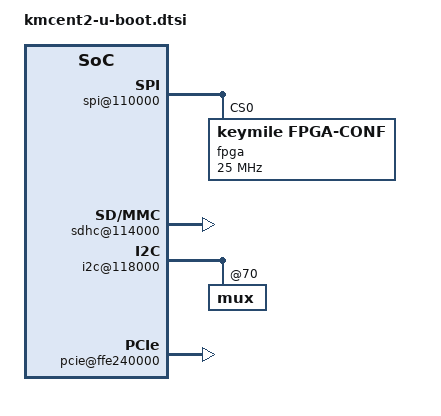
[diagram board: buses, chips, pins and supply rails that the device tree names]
// SPDX-License-Identifier: GPL-2.0-or-later
/*
 * (C) Copyright 2021  Niel Fourie <lusus@denx.de>
 */

#include <config.h>

/ {

	aliases {
		spi0 = "/soc@ffe000000/spi@110000";
		i2c0 = "/soc@ffe000000/i2c@118000";
		i2c1 = "/soc@ffe000000/i2c@118000/mux@70/i2c@0";
		i2c2 = "/soc@ffe000000/i2c@118000/mux@70/i2c@1";
		i2c3 = "/soc@ffe000000/i2c@118000/mux@70/i2c@7";
		i2c4 = "/soc@ffe000000/i2c@118100";
		/delete-property/ pci1;
		/delete-property/ pci2;
		/delete-property/ pci3;
	};

	chosen {
		stdout-path = "/soc@ffe000000/serial@11c500";
	};

	soc@ffe000000 {
		bootph-all;
		spi@110000 {
			/* This documents where km_fpgacfg should be appear */
			fpga@0 {
				compatible = "keymile,fpga-conf";
				reg = <0>;
				spi-max-frequency = <25000000>;
			};
		};

		sdhc@114000 {
			status = "okay";
		};

		i2c@118000 {
			bootph-all;
			mux@70 {
				i2c@1 { /* IVM bus */
					reg = <1>;
					#address-cells = <1>;
					#size-cells = <0>;
				};
			};
		};

		serial@11c500 {
			bootph-all;
			clock-frequency = <200000000>;
		};

		fman@400000 {
			ethernet@e0000 {
				phy-connection-type = "sgmii";
			};

			ethernet@e2000 {
				phy-connection-type = "sgmii";
			};

			ethernet@e8000 {
				phy-connection-type = "rgmii-id";
			};
		};

	};

	pcie@ffe240000 {
		compatible = "fsl,pcie-t104x";
		law_trgt_if = <0>;
	};
};

#include "u-boot.dtsi"
